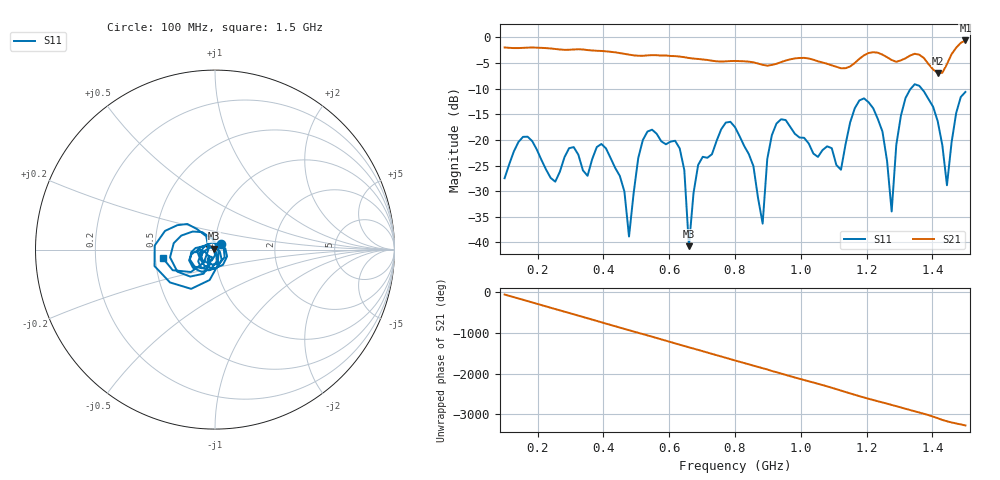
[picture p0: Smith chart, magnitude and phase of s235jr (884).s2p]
! NanoVNA-App
! Date: 2025-09-25 15:11:03
! Start: 100MHz Stop: 1,5GHz Points: 101
! S-Parameter data: F S11 S21 S12 S22
# Hz S RI R 50
!  Frequency  S11_Real  S11_Imag  S21_Real  S21_Imag  S12_Real  S12_Imag  S22_Real  S22_Imag
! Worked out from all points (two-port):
!   101 points, 100 MHz to 1.5 GHz, reference 50 ohm
!   highest |S21| = -0.60 dB at 1.5 GHz (marker M1); lowest = -6.9 dB at 1.416 GHz (marker M2)
!   |S21| within 3 dB of the highest: start of sweep to 600.2 MHz; 1.19 GHz to 1.255 GHz (64.52 MHz wide, 5.28 % of centre) (the widest 2 of 4)
!   lowest |S11| = -40.7 dB at 660 MHz (marker M3), VSWR 1.02, Z = 49.3 + j0.56 ohm
!   |S11| at or under -10 dB: start of sweep to 1.334 GHz; 1.367 GHz to end of sweep
!   S12 and S22 are empty: the file has one direction only
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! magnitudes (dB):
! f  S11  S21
! 100 MHz  -27.5  -2.0
! 156 MHz  -19.4  -2.0
! 338 MHz  -25.9  -2.4
! 408 MHz  -21.6  -2.7
! 478 MHz  -38.8  -3.4
! 520 MHz  -20.0  -3.6
! 576 MHz  -20.3  -3.5
! 632 MHz  -21.7  -3.7
! 660 MHz  -40.7  -4.0
! 688 MHz  -24.9  -4.2
! 800 MHz  -17.5  -4.6
! 884 MHz  -36.3  -5.3
! 926 MHz  -16.8  -5.2
! 1.038 GHz  -22.7  -4.4
! 1.122 GHz  -25.8  -6.0
! 1.192 GHz  -11.9  -3.5
! 1.248 GHz  -18.4  -3.4
! 1.276 GHz  -34.0  -4.4
! 1.318 GHz  -11.8  -4.1
! 1.416 GHz  -16.4  -6.9
! 1.444 GHz  -28.8  -5.2
! 1.5 GHz  -10.6  -0.6
